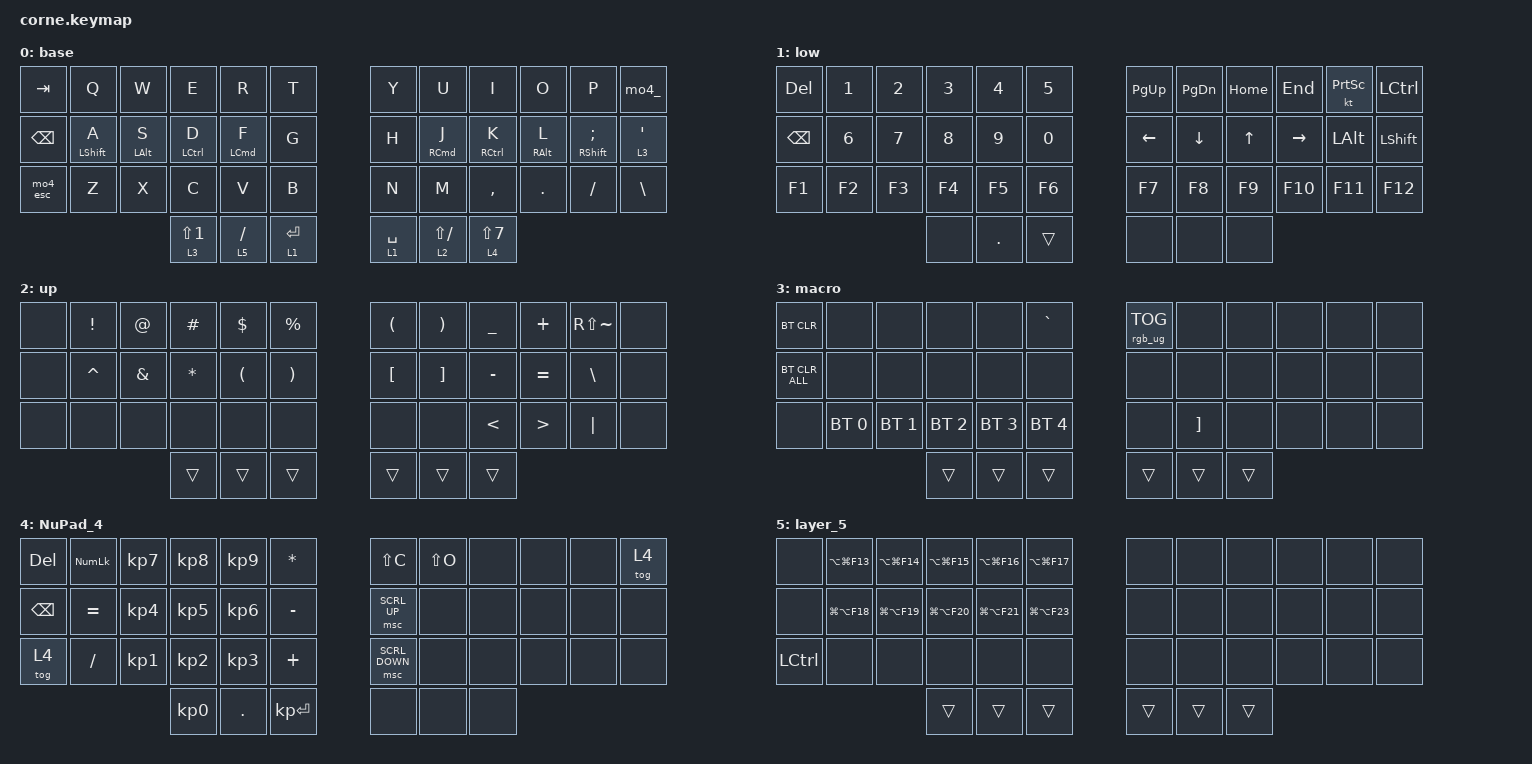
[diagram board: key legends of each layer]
/*
 * Copyright (c) 2020 The ZMK Contributors
 *
 * SPDX-License-Identifier: MIT
 */

#include <behaviors.dtsi>
#include <dt-bindings/zmk/bt.h>
#include <dt-bindings/zmk/keys.h>
#include <dt-bindings/zmk/pointing.h>
#include <dt-bindings/zmk/rgb.h>

#define LEFT_POSITIONS  0 1 2 3 4 5 12 13 14 15 16 17 24 25 26 27 28 29 36 37 38
#define RIGHT_POSITIONS 6 7 8 9 10 11 18 19 20 21 22 23 30 31 32 33 34 35 39 40 41

/* Key Positions
╭────────────────────────╮ ╭────────────────────────╮
│  0   1   2   3   4   5 │ │  6   7   8   9  10  11 │
│ 12  13  14  15  16  17 │ │ 18  19  20  21  22  23 │
│ 24  25  26  27  28  29 │ │ 30  31  32  33  34  35 │
╰───────────╮ 36  37  38 │ │ 39  40  41 ╭───────────╯
            ╰────────────╯ ╰────────────╯
*/
// Mouse Overrides

#define ZMK_MOUSE_DEFAULT_MOVE_VAL 2400
#define ZMK_MOUSE_DEFAULT_SCRL_VAL 40

// Layers

#define DEFAULT   0
#define LOWER     1
#define UPPER     2
#define MACRO     3

/ {
    behaviors {
        hrml: home_row_mods_left {
            compatible = "zmk,behavior-hold-tap";
            #binding-cells = <2>;
            tapping-term-ms = <180>;
            quick-tap-ms = <140>;
            flavor = "tap-preferred";

            //require-prior-idle-ms = <125>;

            hold-trigger-key-positions = < RIGHT_POSITIONS >;

            //hold-trigger-on-release; // delay positional check until key release

            bindings = <&kp>, <&kp>;
        };

        hrmr: home_row_mods_right {
            compatible = "zmk,behavior-hold-tap";
            #binding-cells = <2>;
            tapping-term-ms = <180>;
            quick-tap-ms = <140>;
            flavor = "tap-preferred";

            //require-prior-idle-ms = <125>;

            hold-trigger-key-positions = < LEFT_POSITIONS >;

            //hold-trigger-on-release; // delay positional check until key release

            bindings = <&kp>, <&kp>;
        };

        lthp: layer_tap_hold_preferred {
            compatible = "zmk,behavior-hold-tap";
            #binding-cells = <2>;
            tapping-term-ms = <300>;
            quick-tap-ms = <150>;

            //require-prior-idle-ms = <125>;

            flavor = "hold-preferred";
            bindings = <&mo>, <&kp>;
        };

        mthp: mod_tap_hold_preferred {
            compatible = "zmk,behavior-hold-tap";
            #binding-cells = <2>;
            tapping-term-ms = <300>;
            quick-tap-ms = <150>;

            //require-prior-idle-ms = <125>;

            flavor = "hold-preferred";
            bindings = <&kp>, <&kp>;
        };

        mttp: mod_tap_tap_preferred {
            compatible = "zmk,behavior-hold-tap";
            #binding-cells = <2>;
            tapping-term-ms = <300>;
            quick-tap-ms = <150>;

            //require-prior-idle-ms = <125>;

            flavor = "tap-preferred";
            bindings = <&kp>, <&kp>;
        };

        behavior_kp_kp: behavior_kp_kp {
            compatible = "zmk,behavior-hold-tap";
            label = "BEHAVIOR_KP_KP";
            bindings = <&kp>, <&kp>;

            #binding-cells = <2>;
            hold-trigger-key-positions = <0 1 2 3 4 5 17 16 15 14 13 12 24 25 26 27 28 29 38 37 36 39 40 41 30 19 31 34 35 23 22 21 20 18 32 33 11 10 9 8 7 6>;
            hold-trigger-on-release;
            tapping-term-ms = <280>;
            quick-tap-ms = <176>;
        };

        behavior_mo_kp_: behavior_mo_kp_ {
            compatible = "zmk,behavior-hold-tap";
            label = "BEHAVIOR_MO_KP_";
            bindings = <&mo>, <&kp>;

            #binding-cells = <2>;
            hold-trigger-key-positions = <0 1 2 3 4 5 17 16 15 14 13 12 24 25 26 27 28 29 38 37 36 39 40 41 30 19 31 34 35 23 22 21 20 18 32 33 11 10 9 8 7 6>;
            hold-trigger-on-release;
            tapping-term-ms = <280>;
            quick-tap-ms = <176>;
        };

        behavior_tap_dance: behavior_tap_dance {
            compatible = "zmk,behavior-tap-dance";
            label = "BEHAVIOR_TAP_DANCE";
            #binding-cells = <0>;
            bindings = <&none>, <&none>;

            tapping-term-ms = <176>;
        };

        tap_dance_kp_kp: tap_dance_kp_kp {
            compatible = "zmk,behavior-tap-dance";
            label = "TAP_DANCE_KP_KP";
            #binding-cells = <0>;
            bindings = <&kp M>, <&kp RIGHT_BRACKET>;
        };

        mo4_: mo4_ {
            compatible = "zmk,behavior-tap-dance";
            label = "MO4_";
            #binding-cells = <0>;
            bindings = <&kp LEFT_BRACKET>, <&tog 4>;

            tapping-term-ms = <175>;
        };

        tap_dance_E: tap_dance_E {
            compatible = "zmk,behavior-tap-dance";
            label = "TAP_DANCE_E";
            #binding-cells = <0>;
            bindings = <&kp T>, <&kp GRAVE>;

            tapping-term-ms = <230>;
        };

        hrml_kp_mo: hrml_kp_mo {
            compatible = "zmk,behavior-hold-tap";
            #binding-cells = <2>;
            tapping-term-ms = <180>;
            quick-tap-ms = <140>;
            flavor = "tap-preferred";
            hold-trigger-key-positions = <RIGHT_POSITIONS>;
            label = "HRML_KP_MO";
            bindings = <&mo>, <&kp>;
        };

        mo4_esc: mo4_esc {
            compatible = "zmk,behavior-tap-dance";
            label = "MO4_ESC";
            #binding-cells = <0>;
            bindings = <&kp ESC>, <&tog 4>;

            tapping-term-ms = <175>;
        };
    };

    macros {
        vim_save: vim_save {
            compatible = "zmk,behavior-macro";
            #binding-cells = <0>;
            bindings = <&macro_tap>, <&kp ESC &kp COLON &kp W &kp RETURN>;
        };

        vim_quit: vim_quit {
            compatible = "zmk,behavior-macro";
            #binding-cells = <0>;
            bindings = <&macro_tap>, <&kp ESC &kp COLON &kp Q &kp RETURN>;
        };

        vim_up: vim_up {
            compatible = "zmk,behavior-macro";
            #binding-cells = <0>;
            bindings = <&macro_tap>, <&kp LCTRL &kp U>;
        };

        vim_down: vim_down {
            compatible = "zmk,behavior-macro";
            #binding-cells = <0>;
            bindings = <&macro_tap>, <&kp LCTRL &kp D>;
        };

        big_key: big_key {
            compatible = "zmk,behavior-macro";
            #binding-cells = <0>;
            bindings = <&none>;
            label = "BIG_KEY";
        };
    };

    combos {
        compatible = "zmk,combos";

        ru_en {
            bindings = <&kp LS(LEFT_ALT)>;
            key-positions = <15 16>;
        };

        r_sk {
            bindings = <&kp RIGHT_PARENTHESIS>;
            key-positions = <6 7>;
        };

        bek_slesh {
            bindings = <&kp UNDERSCORE>;
            key-positions = <7 8>;
        };

        minus {
            bindings = <&kp MINUS>;
            key-positions = <3 4>;
        };

        caps {
            bindings = <&kp CAPSLOCK>;
            key-positions = <29 30>;
        };
    };

    keymap {
        compatible = "zmk,keymap";

        default_layer {
            display-name = "base";
            bindings = <
&kp TAB        &kp Q          &kp W         &kp E           &kp R         &kp T            &kp Y          &kp U              &kp I                 &kp O         &kp P             &mo4_
&kp BACKSPACE  &hrml LSHFT A  &hrml LALT S  &hrml LCTRL D   &hrml LCMD F  &kp G            &kp H          &hrmr RCMD J       &hrmr RCTRL K         &hrmr RALT L  &hrmr RSHFT SEMI  &lthp 3 SQT
&mo4_esc       &kp Z          &kp X         &kp C           &kp V         &kp B            &kp N          &kp M              &kp COMMA             &kp DOT       &kp FSLH          &kp BSLH
                                            &lthp 3 LS(N1)  &lthp 5 FSLH  &lthp 1 ENTER    &lthp 1 SPACE  &lthp 2 LS(SLASH)  &lthp 4 LS(NUMBER_7)
            >;
        };

        lower_layer {
            display-name = "low";
            bindings = <
&kp DEL        &kp N1  &kp N2  &kp N3  &kp N4      &kp N5    &kp PG_UP  &kp PG_DN  &kp HOME  &kp END    &kt PRINTSCREEN  &kp LEFT_CONTROL
&kp BACKSPACE  &kp N6  &kp N7  &kp N8  &kp N9      &kp N0    &kp LEFT   &kp DOWN   &kp UP    &kp RIGHT  &kp LEFT_ALT     &kp LEFT_SHIFT
&kp F1         &kp F2  &kp F3  &kp F4  &kp F5      &kp F6    &kp F7     &kp F8     &kp F9    &kp F10    &kp F11          &kp F12
                               &none   &kp PERIOD  &trans    &none      &none      &none
            >;
        };

        raise_layer {
            display-name = "up";
            bindings = <
&none  &kp EXCL   &kp AT    &kp HASH      &kp DLLR  &kp PRCNT    &kp LPAR  &kp RPAR  &kp UNDER  &kp PLUS   &kp RS(TILDE)  &none
&none  &kp CARET  &kp AMPS  &kp ASTERISK  &kp LPAR  &kp RPAR     &kp LBKT  &kp RBKT  &kp MINUS  &kp EQUAL  &kp BSLH       &none
&none  &none      &none     &none         &none     &none        &none     &none     &kp LT     &kp GT     &kp PIPE       &none
                            &trans        &trans    &trans       &trans    &trans    &trans
            >;
        };

        macro_layer {
            display-name = "macro";
            bindings = <
&bt BT_CLR      &none         &none         &none         &none         &kp GRAVE       &rgb_ug RGB_TOG  &none              &none   &none  &none  &none
&bt BT_CLR_ALL  &none         &none         &none         &none         &none           &none            &none              &none   &none  &none  &none
&none           &bt BT_SEL 0  &bt BT_SEL 1  &bt BT_SEL 2  &bt BT_SEL 3  &bt BT_SEL 4    &none            &kp RIGHT_BRACKET  &none   &none  &none  &none
                                            &trans        &trans        &trans          &trans           &trans             &trans
            >;
        };

        NuPad_4 {
            bindings = <
&kp DEL        &kp KP_NUMLOCK  &kp KP_NUMBER_7  &kp KP_NUMBER_8  &kp KP_NUMBER_9  &kp ASTERISK    &kp LS(C)       &kp LS(O)  &none  &none  &none  &tog 4
&kp BACKSPACE  &kp EQUAL       &kp KP_NUMBER_4  &kp KP_NUMBER_5  &kp KP_NUMBER_6  &kp MINUS       &msc SCRL_UP    &none      &none  &none  &none  &none
&tog 4         &kp SLASH       &kp KP_NUMBER_1  &kp KP_NUMBER_2  &kp KP_NUMBER_3  &kp PLUS        &msc SCRL_DOWN  &none      &none  &none  &none  &none
                                                &kp KP_NUMBER_0  &kp PERIOD       &kp KP_ENTER    &none           &none      &none
            >;
        };

        layer_5 {
            bindings = <
&none      &kp LA(LG(F13))  &kp LA(LG(F14))  &kp LA(LG(F15))  &kp LA(LG(F16))  &kp LA(LG(F17))    &none   &none   &none   &none  &none  &none
&none      &kp LG(LA(F18))  &kp LG(LA(F19))  &kp LG(LA(F20))  &kp LG(LA(F21))  &kp LG(LA(F23))    &none   &none   &none   &none  &none  &none
&kp LCTRL  &none            &none            &none            &none            &none              &none   &none   &none   &none  &none  &none
                                             &trans           &trans           &trans             &trans  &trans  &trans
            >;
        };
    };
};
